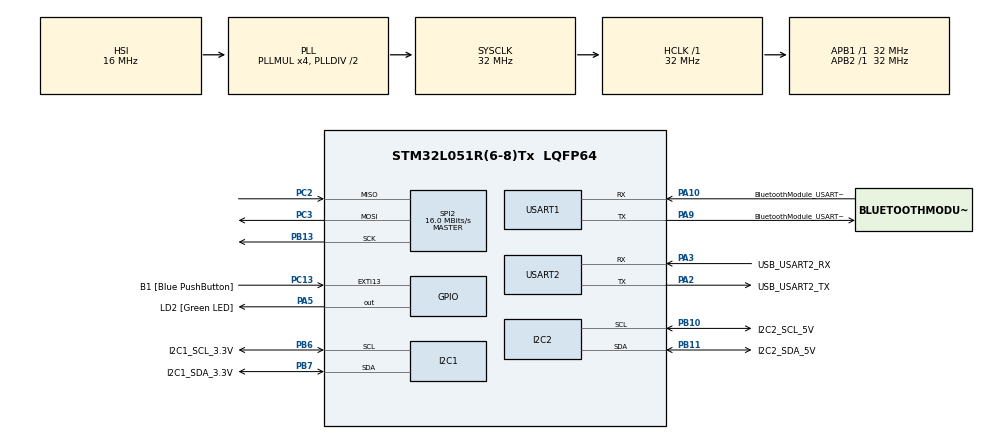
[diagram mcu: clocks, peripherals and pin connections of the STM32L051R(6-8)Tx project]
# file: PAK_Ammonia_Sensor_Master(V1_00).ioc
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I2C1.Timing=0x00707CBB
I2C2.Timing=0x00707CBB
Mcu.Family=STM32L0
Mcu.Name=STM32L051R(6-8)Tx
Mcu.Package=LQFP64
PA10.GPIO_Label=BluetoothModule_USART1_RX
PA10.GPIO_Speed=GPIO_SPEED_FREQ_HIGH
PA10.Mode=Asynchronous
PA10.Signal=USART1_RX
PA13.GPIO_Label=TMS
PA13.Mode=Serial_Wire
PA13.Signal=SYS_SWDIO
PA14.GPIO_Label=TCK
PA14.Mode=Serial_Wire
PA14.Signal=SYS_SWCLK
PA2.GPIO_Label=USB_USART2_TX
PA2.GPIO_Speed=GPIO_SPEED_FREQ_LOW
PA2.Mode=Asynchronous
PA2.Signal=USART2_TX
PA3.GPIO_Label=USB_USART2_RX
PA3.GPIO_Speed=GPIO_SPEED_FREQ_LOW
PA3.Mode=Asynchronous
PA3.Signal=USART2_RX
PA5.GPIO_Label=LD2 [Green LED]
PA5.Signal=GPIO_Output
PA9.GPIO_Label=BluetoothModule_USART1_TX
PA9.GPIO_Speed=GPIO_SPEED_FREQ_HIGH
PA9.Mode=Asynchronous
PA9.Signal=USART1_TX
PB10.GPIO_Label=I2C2_SCL_5V
PB10.GPIO_Speed=GPIO_SPEED_FREQ_HIGH
PB10.Mode=I2C
PB10.Signal=I2C2_SCL
PB11.GPIO_Label=I2C2_SDA_5V
PB11.GPIO_Speed=GPIO_SPEED_FREQ_HIGH
PB11.Mode=I2C
PB11.Signal=I2C2_SDA
PB13.GPIO_Speed=GPIO_SPEED_FREQ_HIGH
PB13.Mode=Full_Duplex_Master
PB13.Signal=SPI2_SCK
PB6.GPIO_FM6=__NULL
PB6.GPIO_Label=I2C1_SCL_3.3V
PB6.GPIO_Speed=GPIO_SPEED_FREQ_HIGH
PB6.Mode=I2C
PB6.Signal=I2C1_SCL
PB7.GPIO_FM7=__NULL
PB7.GPIO_Label=I2C1_SDA_3.3V
PB7.GPIO_Speed=GPIO_SPEED_FREQ_HIGH
PB7.Mode=I2C
PB7.Signal=I2C1_SDA
PC13.GPIO_Label=B1 [Blue PushButton]
PC13.Signal=GPXTI13
PC14-OSC32_IN.Mode=LSE-External-Oscillator
PC14-OSC32_IN.Signal=RCC_OSC32_IN
PC15-OSC32_OUT.Mode=LSE-External-Oscillator
PC15-OSC32_OUT.Signal=RCC_OSC32_OUT
PC2.GPIO_Speed=GPIO_SPEED_FREQ_HIGH
PC2.Mode=Full_Duplex_Master
PC2.Signal=SPI2_MISO
PC3.GPIO_Speed=GPIO_SPEED_FREQ_HIGH
PC3.Mode=Full_Duplex_Master
PC3.Signal=SPI2_MOSI
PH0-OSC_IN.Mode=HSE-External-Clock-Source
PH0-OSC_IN.Signal=RCC_OSC_IN
ProjectManager.HeapSize=0x200
ProjectManager.StackSize=0x400
ProjectManager.TargetToolchain=MDK-ARM V5
RCC.AHBFreq_Value=32000000
RCC.APB1Freq_Value=32000000
RCC.APB1TimFreq_Value=32000000
RCC.APB2Freq_Value=32000000
RCC.APB2TimFreq_Value=32000000
RCC.HCLKFreq_Value=32000000
RCC.HSE_VALUE=8000000
RCC.HSI16_VALUE=16000000
RCC.HSI_VALUE=16000000
RCC.MSI_VALUE=2097000
RCC.PLLMUL=RCC_PLLMUL_4
RCC.SYSCLKFreq_VALUE=32000000
RCC.SYSCLKSource=RCC_SYSCLKSOURCE_PLLCLK
RCC.VCOOutputFreq_Value=64000000
RTC.Year=19
SPI2.CalculateBaudRate=16.0 MBits/s
SPI2.DataSize=SPI_DATASIZE_8BIT
SPI2.Direction=SPI_DIRECTION_2LINES
SPI2.Mode=SPI_MODE_MASTER
SPI2.VirtualType=VM_MASTER
USART1.VirtualMode-Asynchronous=VM_ASYNC
USART2.VirtualMode-Asynchronous=VM_ASYNC
VP_RTC_VS_RTC_Activate.Mode=RTC_Enabled
VP_RTC_VS_RTC_Calendar.Mode=RTC_Calendar
VP_TIM6_VS_ClockSourceINT.Mode=Enable_Timer
board=custom

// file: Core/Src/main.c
/**
  ******************************************************************************
  * @file           : main.c
  * @brief          : Main program body
  ******************************************************************************
  ** This notice applies to any and all portions of this file
  * that are not between comment pairs USER CODE BEGIN and
  * USER CODE END. Other portions of this file, whether
  * inserted by the user or by software development tools
  * are owned by their respective copyright owners.
  *
  * COPYRIGHT(c) 2019 STMicroelectronics
  *
  * Redistribution and use in source and binary forms, with or without modification,
  * are permitted provided that the following conditions are met:
  *   1. Redistributions of source code must retain the above copyright notice,
  *      this list of conditions and the following disclaimer.
  *   2. Redistributions in binary form must reproduce the above copyright notice,
  *      this list of conditions and the following disclaimer in the documentation
  *      and/or other materials provided with the distribution.
  *   3. Neither the name of STMicroelectronics nor the names of its contributors
  *      may be used to endorse or promote products derived from this software
  *      without specific prior written permission.
  *
  * THIS SOFTWARE IS PROVIDED BY THE COPYRIGHT HOLDERS AND CONTRIBUTORS "AS IS"
  * AND ANY EXPRESS OR IMPLIED WARRANTIES, INCLUDING, BUT NOT LIMITED TO, THE
  * IMPLIED WARRANTIES OF MERCHANTABILITY AND FITNESS FOR A PARTICULAR PURPOSE ARE
  * DISCLAIMED. IN NO EVENT SHALL THE COPYRIGHT HOLDER OR CONTRIBUTORS BE LIABLE
  * FOR ANY DIRECT, INDIRECT, INCIDENTAL, SPECIAL, EXEMPLARY, OR CONSEQUENTIAL
  * DAMAGES (INCLUDING, BUT NOT LIMITED TO, PROCUREMENT OF SUBSTITUTE GOODS OR
  * SERVICES; LOSS OF USE, DATA, OR PROFITS; OR BUSINESS INTERRUPTION) HOWEVER
  * CAUSED AND ON ANY THEORY OF LIABILITY, WHETHER IN CONTRACT, STRICT LIABILITY,
  * OR TORT (INCLUDING NEGLIGENCE OR OTHERWISE) ARISING IN ANY WAY OUT OF THE USE
  * OF THIS SOFTWARE, EVEN IF ADVISED OF THE POSSIBILITY OF SUCH DAMAGE.
  *
  ******************************************************************************
  */
#include "main.h"
#include "stm32l0xx_hal.h"

I2C_HandleTypeDef hi2c1;
I2C_HandleTypeDef hi2c2;

RTC_HandleTypeDef hrtc;

SPI_HandleTypeDef hspi2;

TIM_HandleTypeDef htim6;

UART_HandleTypeDef huart1;
UART_HandleTypeDef huart2;

/* USER CODE BEGIN PV */
/* Private variables ---------------------------------------------------------*/

/* Struct for f/w design and as template to other applications */
UDRS_ProgrammerTypedef	FWD1, TEMPLATE;							// timing flags
char bufferTX[SIZE_BUFFER_TXRX];										// TX buffer for display

/* Struct to support other applications */
UDRS_ProgrammerTypedef	JP, KH, ES;									// timing flags

uint8_t	g_MenuIndex;
uint32_t uwTick_current, uwTick_previous500mS, uwTick_previous1S;

/* Exported variables (extern) */
uint8_t	g_UDRS_timeout1S, g_UDRS_timeout500mS;
uint8_t	g_JP_timeout1S,	g_JP_timeout500mS;
uint8_t	g_KH_timeout1S, g_KH_timeout500mS;
uint8_t	g_ES_timeout1S, g_ES_timeout500mS;

uint16_t mSecondCount=0, secondCount=0, fiveSecondCount=0;

uint8_t halfSecondFlag, secondFlag, fiveSecondFlag, errorFlag, enterFlag, exitFlag;  /* global flags */
uint8_t i, j, k;  /* general counters */
uint8_t autoLogin;
uint8_t buffer[100];  /* UART message transmit buffer */
uint8_t bufferKeyPressed[100], receiveArray[NUM_OF_UART_RECEIVED+1], receiveInputArray[NUM_OF_UART_RECEIVED+1]; /* UART keyboard receive buffer */
uint8_t menuSelection, enterPlacement;  /* general menu selection */

uint8_t month, date, hour, min;

RTC_TimeTypeDef sTime;
RTC_DateTypeDef sDate;
/* USER CODE END PV */

void SystemClock_Config(void);
static void MX_GPIO_Init(void);
static void MX_I2C1_Init(void);
//void MX_I2C1_Init(void);
static void MX_I2C2_Init(void);
static void MX_USART1_UART_Init(void);
static void MX_USART2_UART_Init(void);
static void MX_RTC_Init(void);
static void MX_SPI2_Init(void);
static void MX_TIM6_Init(void);

void HAL_TIM_MspPostInit(TIM_HandleTypeDef *htim);

/* USER CODE BEGIN PFP */

/* Private function prototypes -----------------------------------------------*/
extern void API_USR_TransmitMessage(char *message);
extern void SelectTopMenuOnUart(void);
uint8_t BlueButtonDetected(uint8_t x);
void APP_ColourDetect(void);
//uint8_t BSP_PB_GetState(void);

/* USER CODE END PFP */

/* USER CODE BEGIN 0 */
void HAL_SYSTICK_Callback(void)
{
	mSecondCount++;

		if(500 == mSecondCount)
		{
			HAL_GPIO_TogglePin(LD2_GPIO_Port, LD2_Pin);
			halfSecondFlag=1;
		}

		if(1000 == mSecondCount)
		{
			secondCount++;
			secondFlag=1;									// second flag = 1;
			mSecondCount=0;
			if(secondCount % 5 == 0)			// need to be inside the mSecondCount so the flag is set only once
			{
				fiveSecondFlag=1;						// fiveSecond flag = 1;
			}
		}

		if(60 == secondCount)
		{
				secondCount = 0;
				sTime.Minutes++;
				if(60 == sTime.Minutes)
				{
					sTime.Minutes = 0;
					sTime.Hours++;
					if(24 == sTime.Hours)
					{
						sTime.Hours = 0;
						sDate.Date++;
						if((2==sDate.Month && sDate.Month%4!=0 && 29 == sDate.Date) ||
							 (2==sDate.Month && 30 == sDate.Date) ||
						   (31 == sDate.Date && (4==sDate.Month || 6==sDate.Month || 9==sDate.Month || 11==sDate.Month)) ||
						   (32 == sDate.Date))
						{
							sDate.Date = 1;
							sDate.Month++;
							if(13 == sDate.Month)
							{
								sDate.Month = 1;
								sDate.Year++;
							}
						}
					}
				}
		}

//		if(secondCount == 1)
//		{
//			fiveSecondCount++;
//			secondFlag=1;
//			secondCount=0;
//		}

//		if(fiveSecondCount == 5)
//		{
//			fiveSecondFlag=1;
//			fiveSecondCount=0;
//		}
}

uint8_t BlueButtonDetected(uint8_t x)
{
	j=0;

	for(i=0; i<x; i++)
	{
		HAL_Delay(500);
		if(HAL_GPIO_ReadPin(B1_GPIO_Port,B1_Pin) == GPIO_PIN_SET)
		{
			while (HAL_GPIO_ReadPin(B1_GPIO_Port,B1_Pin) == GPIO_PIN_SET);

			j++;
		}
	}

	if(x == j)
		return 1;
	else
		return 0;

}

void APP_ColourDetect(void)
{
	SelectTopMenuOnUart();
  API_USR_TransmitMessage("\r\n\nTo start, Please press & hold for 3 seconds to start\r\n\n");
  HAL_Delay(500);
}

/*
uint8_t BSP_PB_GetState(void)
{
	if(HAL_GPIO_ReadPin(B1_GPIO_Port,B1_Pin) == GPIO_PIN_SET)
		return 1;
	else
		return 0;
}
*/

/* USER CODE END 0 */

int main(void)
{
  /* USER CODE BEGIN 1 */
	uint32_t volatile start = 1U;
	/* Struct containing all applications */
UDRS_OperationTypedef	UDRS_operation[] =
{
	#if defined __UDRS_APP_INFUSATE_LT_
	{APP_UDRSinfusateLT, "0: UDRS(INFUSATE/LT)", 0},
	#endif
	#if defined __UDRS_APP_INFUSATE_TANG_
	{APP_UDRSinfusatePM, "1: UDRS(INFUSATE/PM)", 0},
	#endif
	#if defined __UDRS_APP_ERS_LT_
	{APP_UDRSersLT, "2: UDRS(ERS/LT)", 0},
	#endif
	#if defined __UDRS_APP_ERS_TANG_
	{APP_UDRSersPM, "3: UDRS(ERS/PM)", 0},
	#endif
	#if defined __PAK_APP_ERS_JP_
	{APP_ColourDetect, "4; COLOUR SENSOR", 0},
	#endif

};

	g_MenuIndex = 0;

  /* USER CODE END 1 */

  /* MCU Configuration----------------------------------------------------------*/

  /* Reset of all peripherals, Initializes the Flash interface and the Systick. */
  HAL_Init();

  /* USER CODE BEGIN Init */
	FWD1.previousTick_1S = HAL_GetTick();

  /* USER CODE END Init */

  /* Configure the system clock */
  SystemClock_Config();

  /* Initialize all configured peripherals */
  MX_GPIO_Init();
  MX_I2C1_Init();
  MX_I2C2_Init();
  MX_USART1_UART_Init();
  MX_USART2_UART_Init();
  MX_RTC_Init();
  MX_SPI2_Init();
  MX_TIM6_Init();
  /* USER CODE BEGIN 2 */

	/* Main Menu */
	BSP_LED_Init(LED_GREEN);
	SelectTopMenuOnUart();
  API_USR_TransmitMessage("\r\n\nTo start, Please press & hold for 3 seconds to start\r\n\n");
  HAL_Delay(500);

  /* USER CODE END 2 */

  /* Infinite loop */
  /* USER CODE BEGIN WHILE */
  while (start)
  {

  /* USER CODE END WHILE */

  /* USER CODE BEGIN 3 */
		// to include display on the particular menu
		// Main program menu
		if(BSP_PB_GetState(BUTTON_USER) == GPIO_PIN_SET)
		{
			while(BSP_PB_GetState(BUTTON_USER) == GPIO_PIN_SET);
			UDRS_operation[g_MenuIndex].OpFunc();
			g_MenuIndex++;
			if(g_MenuIndex >= COUNT_OF_OPERATION(UDRS_operation))
			{
				g_MenuIndex = 0;
			}
		}

		/*----------------------------------------------------------------------*/

  }
  /* USER CODE END 3 */
	return 0;

}

void SystemClock_Config(void)
{

  RCC_OscInitTypeDef RCC_OscInitStruct;
  RCC_ClkInitTypeDef RCC_ClkInitStruct;
  RCC_PeriphCLKInitTypeDef PeriphClkInit;

    /**Configure the main internal regulator output voltage
    */
  __HAL_PWR_VOLTAGESCALING_CONFIG(PWR_REGULATOR_VOLTAGE_SCALE1);

    /**Initializes the CPU, AHB and APB busses clocks
    */
  RCC_OscInitStruct.OscillatorType = RCC_OSCILLATORTYPE_HSI|RCC_OSCILLATORTYPE_LSI;
  RCC_OscInitStruct.HSIState = RCC_HSI_ON;
  RCC_OscInitStruct.HSICalibrationValue = 16;
  RCC_OscInitStruct.LSIState = RCC_LSI_ON;
  RCC_OscInitStruct.PLL.PLLState = RCC_PLL_ON;
  RCC_OscInitStruct.PLL.PLLSource = RCC_PLLSOURCE_HSI;
  RCC_OscInitStruct.PLL.PLLMUL = RCC_PLLMUL_4;
  RCC_OscInitStruct.PLL.PLLDIV = RCC_PLLDIV_2;
  if (HAL_RCC_OscConfig(&RCC_OscInitStruct) != HAL_OK)
  {
    _Error_Handler(__FILE__, __LINE__);
  }

    /**Initializes the CPU, AHB and APB busses clocks
    */
  RCC_ClkInitStruct.ClockType = RCC_CLOCKTYPE_HCLK|RCC_CLOCKTYPE_SYSCLK
                              |RCC_CLOCKTYPE_PCLK1|RCC_CLOCKTYPE_PCLK2;
  RCC_ClkInitStruct.SYSCLKSource = RCC_SYSCLKSOURCE_PLLCLK;
  RCC_ClkInitStruct.AHBCLKDivider = RCC_SYSCLK_DIV1;
  RCC_ClkInitStruct.APB1CLKDivider = RCC_HCLK_DIV1;
  RCC_ClkInitStruct.APB2CLKDivider = RCC_HCLK_DIV1;

  if (HAL_RCC_ClockConfig(&RCC_ClkInitStruct, FLASH_LATENCY_1) != HAL_OK)
  {
    _Error_Handler(__FILE__, __LINE__);
  }

  PeriphClkInit.PeriphClockSelection = RCC_PERIPHCLK_USART1|RCC_PERIPHCLK_USART2
                              |RCC_PERIPHCLK_I2C1|RCC_PERIPHCLK_RTC;
  PeriphClkInit.Usart1ClockSelection = RCC_USART1CLKSOURCE_PCLK2;
  PeriphClkInit.Usart2ClockSelection = RCC_USART2CLKSOURCE_PCLK1;
  PeriphClkInit.I2c1ClockSelection = RCC_I2C1CLKSOURCE_PCLK1;
  PeriphClkInit.RTCClockSelection = RCC_RTCCLKSOURCE_LSI;
  if (HAL_RCCEx_PeriphCLKConfig(&PeriphClkInit) != HAL_OK)
  {
    _Error_Handler(__FILE__, __LINE__);
  }

    /**Configure the Systick interrupt time
    */
  HAL_SYSTICK_Config(HAL_RCC_GetHCLKFreq()/1000);

    /**Configure the Systick
    */
  HAL_SYSTICK_CLKSourceConfig(SYSTICK_CLKSOURCE_HCLK);

  /* SysTick_IRQn interrupt configuration */
  HAL_NVIC_SetPriority(SysTick_IRQn, 0, 0);
}

/* I2C1 init function */
static void MX_I2C1_Init(void)
//void MX_I2C1_Init(void)
{

  hi2c1.Instance = I2C1;
  hi2c1.Init.Timing = 0x00707CBB;
  hi2c1.Init.OwnAddress1 = 0;
  hi2c1.Init.AddressingMode = I2C_ADDRESSINGMODE_7BIT;
  hi2c1.Init.DualAddressMode = I2C_DUALADDRESS_DISABLE;
  hi2c1.Init.OwnAddress2 = 0;
  hi2c1.Init.OwnAddress2Masks = I2C_OA2_NOMASK;
  hi2c1.Init.GeneralCallMode = I2C_GENERALCALL_DISABLE;
  hi2c1.Init.NoStretchMode = I2C_NOSTRETCH_DISABLE;
  if (HAL_I2C_Init(&hi2c1) != HAL_OK)
  {
    _Error_Handler(__FILE__, __LINE__);
  }

    /**Configure Analogue filter
    */
  if (HAL_I2CEx_ConfigAnalogFilter(&hi2c1, I2C_ANALOGFILTER_ENABLE) != HAL_OK)
  {
    _Error_Handler(__FILE__, __LINE__);
  }

    /**Configure Digital filter
    */
  if (HAL_I2CEx_ConfigDigitalFilter(&hi2c1, 0) != HAL_OK)
  {
    _Error_Handler(__FILE__, __LINE__);
  }

}

/* I2C2 init function */
static void MX_I2C2_Init(void)
{

  hi2c2.Instance = I2C2;
  hi2c2.Init.Timing = 0x00707CBB;
  hi2c2.Init.OwnAddress1 = 0;
  hi2c2.Init.AddressingMode = I2C_ADDRESSINGMODE_7BIT;
  hi2c2.Init.DualAddressMode = I2C_DUALADDRESS_DISABLE;
  hi2c2.Init.OwnAddress2 = 0;
  hi2c2.Init.OwnAddress2Masks = I2C_OA2_NOMASK;
  hi2c2.Init.GeneralCallMode = I2C_GENERALCALL_DISABLE;
  hi2c2.Init.NoStretchMode = I2C_NOSTRETCH_DISABLE;
  if (HAL_I2C_Init(&hi2c2) != HAL_OK)
  {
    _Error_Handler(__FILE__, __LINE__);
  }

    /**Configure Analogue filter
    */
  if (HAL_I2CEx_ConfigAnalogFilter(&hi2c2, I2C_ANALOGFILTER_ENABLE) != HAL_OK)
  {
    _Error_Handler(__FILE__, __LINE__);
  }

    /**Configure Digital filter
    */
  if (HAL_I2CEx_ConfigDigitalFilter(&hi2c2, 0) != HAL_OK)
  {
    _Error_Handler(__FILE__, __LINE__);
  }

}

/* RTC init function */
static void MX_RTC_Init(void)
{

  RTC_TimeTypeDef sTime;
  RTC_DateTypeDef sDate;

    /**Initialize RTC Only
    */
  hrtc.Instance = RTC;
  hrtc.Init.HourFormat = RTC_HOURFORMAT_24;
  hrtc.Init.AsynchPrediv = 127;
  hrtc.Init.SynchPrediv = 255;
  hrtc.Init.OutPut = RTC_OUTPUT_DISABLE;
  hrtc.Init.OutPutRemap = RTC_OUTPUT_REMAP_NONE;
  hrtc.Init.OutPutPolarity = RTC_OUTPUT_POLARITY_HIGH;
  hrtc.Init.OutPutType = RTC_OUTPUT_TYPE_OPENDRAIN;
  if (HAL_RTC_Init(&hrtc) != HAL_OK)
  {
    _Error_Handler(__FILE__, __LINE__);
  }

    /**Initialize RTC and set the Time and Date
    */
  sTime.Hours = 0x0;
  sTime.Minutes = 0x0;
  sTime.Seconds = 0x0;
  sTime.DayLightSaving = RTC_DAYLIGHTSAVING_NONE;
  sTime.StoreOperation = RTC_STOREOPERATION_RESET;
  if (HAL_RTC_SetTime(&hrtc, &sTime, RTC_FORMAT_BCD) != HAL_OK)
  {
    _Error_Handler(__FILE__, __LINE__);
  }

  sDate.WeekDay = RTC_WEEKDAY_MONDAY;
  sDate.Month = RTC_MONTH_JANUARY;
  sDate.Date = 0x1;
  sDate.Year = 0x20;

  if (HAL_RTC_SetDate(&hrtc, &sDate, RTC_FORMAT_BCD) != HAL_OK)
  {
    _Error_Handler(__FILE__, __LINE__);
  }

}

/* SPI2 init function */
static void MX_SPI2_Init(void)
{

  /* SPI2 parameter configuration*/
  hspi2.Instance = SPI2;
  hspi2.Init.Mode = SPI_MODE_MASTER;
  hspi2.Init.Direction = SPI_DIRECTION_2LINES;
  hspi2.Init.DataSize = SPI_DATASIZE_8BIT;
  hspi2.Init.CLKPolarity = SPI_POLARITY_LOW;
  hspi2.Init.CLKPhase = SPI_PHASE_1EDGE;
  hspi2.Init.NSS = SPI_NSS_SOFT;
  hspi2.Init.BaudRatePrescaler = SPI_BAUDRATEPRESCALER_2;
  hspi2.Init.FirstBit = SPI_FIRSTBIT_MSB;
  hspi2.Init.TIMode = SPI_TIMODE_DISABLE;
  hspi2.Init.CRCCalculation = SPI_CRCCALCULATION_DISABLE;
  hspi2.Init.CRCPolynomial = 7;
  if (HAL_SPI_Init(&hspi2) != HAL_OK)
  {
    _Error_Handler(__FILE__, __LINE__);
  }

}

/* TIM6 init function */
static void MX_TIM6_Init(void)
{

  TIM_MasterConfigTypeDef sMasterConfig;

  htim6.Instance = TIM6;
  htim6.Init.Prescaler = 0;
  htim6.Init.CounterMode = TIM_COUNTERMODE_UP;
  htim6.Init.Period = 0;
  if (HAL_TIM_Base_Init(&htim6) != HAL_OK)
  {
    _Error_Handler(__FILE__, __LINE__);
  }

  sMasterConfig.MasterOutputTrigger = TIM_TRGO_RESET;
  sMasterConfig.MasterSlaveMode = TIM_MASTERSLAVEMODE_DISABLE;
  if (HAL_TIMEx_MasterConfigSynchronization(&htim6, &sMasterConfig) != HAL_OK)
  {
    _Error_Handler(__FILE__, __LINE__);
  }

}

/* USART1 init function */
static void MX_USART1_UART_Init(void)
{

  huart1.Instance = USART1;
  huart1.Init.BaudRate = 115200;
  huart1.Init.WordLength = UART_WORDLENGTH_8B;
  huart1.Init.StopBits = UART_STOPBITS_1;
  huart1.Init.Parity = UART_PARITY_NONE;
  huart1.Init.Mode = UART_MODE_TX_RX;
  huart1.Init.HwFlowCtl = UART_HWCONTROL_NONE;
  huart1.Init.OverSampling = UART_OVERSAMPLING_16;
  huart1.Init.OneBitSampling = UART_ONE_BIT_SAMPLE_DISABLE;
  huart1.AdvancedInit.AdvFeatureInit = UART_ADVFEATURE_NO_INIT;
  if (HAL_UART_Init(&huart1) != HAL_OK)
  {
    _Error_Handler(__FILE__, __LINE__);
  }

}

/* USART2 init function */
static void MX_USART2_UART_Init(void)
{

  huart2.Instance = USART2;
  huart2.Init.BaudRate = 115200;
  huart2.Init.WordLength = UART_WORDLENGTH_8B;
  huart2.Init.StopBits = UART_STOPBITS_1;
  huart2.Init.Parity = UART_PARITY_NONE;
  huart2.Init.Mode = UART_MODE_TX_RX;
  huart2.Init.HwFlowCtl = UART_HWCONTROL_NONE;
  huart2.Init.OverSampling = UART_OVERSAMPLING_16;
  huart2.Init.OneBitSampling = UART_ONE_BIT_SAMPLE_DISABLE;
  huart2.AdvancedInit.AdvFeatureInit = UART_ADVFEATURE_NO_INIT;
  if (HAL_UART_Init(&huart2) != HAL_OK)
  {
    _Error_Handler(__FILE__, __LINE__);
  }

}

/** Configure pins as
        * Analog
        * Input
        * Output
        * EVENT_OUT
        * EXTI
*/
static void MX_GPIO_Init(void)
{

  GPIO_InitTypeDef GPIO_InitStruct;

  /* GPIO Ports Clock Enable */
  __HAL_RCC_GPIOC_CLK_ENABLE();
  __HAL_RCC_GPIOH_CLK_ENABLE();
  __HAL_RCC_GPIOA_CLK_ENABLE();
  __HAL_RCC_GPIOB_CLK_ENABLE();

  /*Configure GPIO pin Output Level */
  HAL_GPIO_WritePin(LD2_GPIO_Port, LD2_Pin, GPIO_PIN_RESET);

  /*Configure GPIO pin : B1_Pin */
  GPIO_InitStruct.Pin = B1_Pin;
  GPIO_InitStruct.Mode = GPIO_MODE_IT_RISING;
  GPIO_InitStruct.Pull = GPIO_NOPULL;
  HAL_GPIO_Init(B1_GPIO_Port, &GPIO_InitStruct);

  /*Configure GPIO pin : LD2_Pin */
  GPIO_InitStruct.Pin = LD2_Pin;
  GPIO_InitStruct.Mode = GPIO_MODE_OUTPUT_PP;
  GPIO_InitStruct.Pull = GPIO_NOPULL;
  GPIO_InitStruct.Speed = GPIO_SPEED_FREQ_LOW;
  HAL_GPIO_Init(LD2_GPIO_Port, &GPIO_InitStruct);

}

void _Error_Handler(char *file, int line)
{
  /* USER CODE BEGIN Error_Handler_Debug */
  /* User can add his own implementation to report the HAL error return state */
//  while(1)
  {
		snprintf((char *)buffer,sizeof(buffer),"\r\nError in file: %s, line number: %5d\r\n",file, line);
		API_USR_TransmitMessage((char *)buffer);
  }
  /* USER CODE END Error_Handler_Debug */
}

/************************ (C) COPYRIGHT STMicroelectronics *****END OF FILE****/
